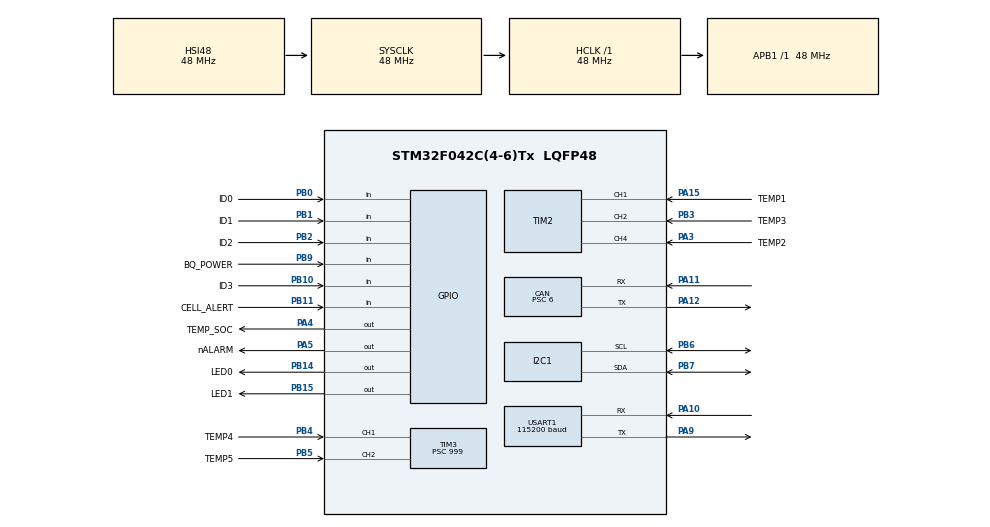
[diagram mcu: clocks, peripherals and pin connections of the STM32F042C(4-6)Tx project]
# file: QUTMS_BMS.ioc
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Mcu.Family=STM32F0
TIM2.Channel-Input_Capture1_from_TI1=TIM_CHANNEL_1
TIM14.AutoReloadPreload=TIM_AUTORELOAD_PRELOAD_DISABLE
PB10.GPIO_PuPd=GPIO_PULLDOWN
USART1.BaudRate=115200
CAN.RFLM=ENABLE
PB14.GPIO_Label=LED0
PA3.GPIO_PuPd=GPIO_NOPULL
PA11.Mode=CAN_Activate
PB0.GPIO_Label=ID0
PA11.GPIO_PuPd=GPIO_PULLUP
PB11.Signal=GPIO_Input
PB15.Signal=GPIO_Output
RCC.SYSCLKSource=RCC_SYSCLKSOURCE_HSI48
ProjectManager.StackSize=0x400
PA15.GPIO_Label=TEMP1
PA12.Signal=CAN_TX
CAN.Prescaler=6
TIM1.Prescaler=24
TIM2.ICPolarity_CH4=TIM_INPUTCHANNELPOLARITY_BOTHEDGE
TIM2.ICPolarity_CH2=TIM_INPUTCHANNELPOLARITY_BOTHEDGE
TIM2.ICPolarity_CH1=TIM_INPUTCHANNELPOLARITY_BOTHEDGE
PB1.GPIO_PuPd=GPIO_PULLDOWN
RCC.HCLKFreq_Value=48000000
PB6.Signal=I2C1_SCL
PB6.Mode=I2C
RCC.AHBFreq_Value=48000000
TIM3.Channel-Input_Capture1_from_TI1=TIM_CHANNEL_1
PA4.GPIO_PuPd=GPIO_NOPULL
PB2.Signal=GPIO_Input
TIM14.Period=250
PA4.GPIO_Speed=GPIO_SPEED_FREQ_HIGH
TIM3.Prescaler=999
PB1.GPIO_Label=ID1
NVIC.TIM2_IRQn=true\:0\:0\:false\:false\:true\:true\:true
PB7.Signal=I2C1_SDA
SH.S_TIM3_CH1.0=TIM3_CH1,Input_Capture1_from_TI1
CAN.CalculateTimeQuantum=125.0
VP_TIM1_VS_ClockSourceINT.Mode=Internal
PB2.GPIO_PuPd=GPIO_PULLDOWN
PB9.Signal=GPIO_Input
Mcu.Package=LQFP48
PB1.Signal=GPIO_Input
TIM2.Channel-Input_Capture2_from_TI2=TIM_CHANNEL_2
PA10.Signal=USART1_RX
PA15.Signal=S_TIM2_CH1_ETR
PB5.GPIO_Label=TEMP5
RCC.APB1TimFreq_Value=48000000
VP_TIM14_VS_ClockSourceINT.Mode=Enable_Timer
TIM16.Prescaler=48000
PF1-OSC_OUT.Mode=HSE-External-Oscillator
PA12.GPIO_PuPd=GPIO_PULLUP
PA4.GPIO_Label=TEMP_SOC
VP_TIM3_VS_ClockSourceINT.Mode=Internal
PF1-OSC_OUT.Signal=RCC_OSC_OUT
PB4.Signal=S_TIM3_CH1
PA3.Signal=S_TIM2_CH4
PB3.GPIO_Label=TEMP3
RCC.PLLSourceVirtual=RCC_PLLSOURCE_HSE
NVIC.TIM14_IRQn=true\:0\:0\:false\:false\:true\:true\:true
PB9.GPIO_Label=BQ_POWER
TIM3.Channel-Input_Capture2_from_TI2=TIM_CHANNEL_2
PA10.Mode=Asynchronous
CAN.CalculateBaudRate=500000
PB11.GPIO_Label=CELL_ALERT
VP_TIM16_VS_ClockSourceINT.Mode=Enable_Timer
NVIC.TIM16_IRQn=true\:0\:0\:false\:false\:true\:true\:true
CAN.CalculateTimeBit=2000.00
USART1.VirtualMode-Asynchronous=VM_ASYNC
TIM1.AutoReloadPreload=TIM_AUTORELOAD_PRELOAD_ENABLE
SH.S_TIM2_CH2.0=TIM2_CH2,Input_Capture2_from_TI2
PA9.Mode=Asynchronous
CAN.BS2=CAN_BS2_2TQ
CAN.BS1=CAN_BS1_13TQ
PA4.PinState=GPIO_PIN_RESET
ProjectManager.TargetToolchain=STM32CubeIDE
PB10.GPIO_Label=ID3
PA9.Signal=USART1_TX
CAN.Mode=CAN_MODE_NORMAL
PF0-OSC_IN.Mode=HSE-External-Oscillator
PB10.Signal=GPIO_Input
PB14.Signal=GPIO_Output
PA5.Signal=GPIO_Output
SH.S_TIM3_CH2.0=TIM3_CH2,Input_Capture2_from_TI2
board=custom
NVIC.TIM3_IRQn=true\:0\:0\:false\:false\:true\:true\:true
TIM16.Period=1000
PB4.GPIO_Label=TEMP4
PB15.GPIO_Label=LED1
VP_TIM2_VS_ClockSourceINT.Mode=Internal
TIM3.ICPolarity_CH2=TIM_INPUTCHANNELPOLARITY_BOTHEDGE
TIM3.ICPolarity_CH1=TIM_INPUTCHANNELPOLARITY_BOTHEDGE
TIM2.Channel-Input_Capture4_from_TI4=TIM_CHANNEL_4
Mcu.Name=STM32F042C(4-6)Tx
TIM14.Prescaler=48000 
PB3.Signal=S_TIM2_CH2
PA4.Signal=GPIO_Output
RCC.SYSCLKFreq_VALUE=48000000
PB5.Signal=S_TIM3_CH2
PA12.Mode=CAN_Activate
PA5.GPIO_Label=nALARM
PB7.Mode=I2C
PA11.Signal=CAN_RX
SH.S_TIM2_CH1_ETR.0=TIM2_CH1,Input_Capture1_from_TI1
PB2.GPIO_Label=ID2
ProjectManager.HeapSize=0x200
SH.S_TIM2_CH4.0=TIM2_CH4,Input_Capture4_from_TI4
PF0-OSC_IN.Signal=RCC_OSC_IN
RCC.APB1Freq_Value=48000000
PB0.Signal=GPIO_Input
PB0.GPIO_PuPd=GPIO_PULLDOWN
PA3.GPIO_Label=TEMP2

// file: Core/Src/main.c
/* USER CODE BEGIN Header */
/**
 ******************************************************************************
 * @file           : main.c
 * @brief          : Main program body
 ******************************************************************************
 * @attention
 *
 * <h2><center>&copy; Copyright (c) 2020 STMicroelectronics.
 * All rights reserved.</center></h2>
 *
 * This software component is licensed by ST under BSD 3-Clause license,
 * the "License"; You may not use this file except in compliance with the
 * License. You may obtain a copy of the License at:
 *                        opensource.org/licenses/BSD-3-Clause
 *
 ******************************************************************************
 */
/* USER CODE END Header */
#include "main.h"
#include "can.h"
#include "i2c.h"
#include "tim.h"
#include "usart.h"
#include "gpio.h"

/* USER CODE BEGIN Includes */
#include <string.h>
#include <stdio.h>
#include <math.h>

#include "bq769x0.h"
#include "QUTMS_can.h"
#include "BMS_CAN_Messages.h"
#include "temp_sensor.h"
/* USER CODE END Includes */

/* USER CODE BEGIN PD */

// OVRD_ALERT, SCD, OCD
#define SYS_STAT_FLAG_BITS 0b00111111

/* USER CODE END PD */

/* USER CODE BEGIN PV */
bool CAN_error = false;
uint8_t voltage_error_count[10];

bool take_voltage_reading;
bool update_balancing;

/* USER CODE END PV */

void SystemClock_Config(void);
/* USER CODE BEGIN PFP */

void SystemClock_1MHz_Config(void);

uint8_t startup_procedure();

uint8_t GetHardwareID();

/* USER CODE END PFP */

/* USER CODE BEGIN 0 */
uint16_t group_voltages[4];
uint16_t current_voltages[10];

bool balancing_mode = false;

uint16_t balancing_bms_average_voltages[16];
uint8_t balancing_bms_count = DEFAULT_BMS_COUNT;

bool first_heartbeat = false;

char uart_buff[80];

HAL_StatusTypeDef BMS_CAN_AddTxMessage(CAN_HandleTypeDef *hcan, CAN_TxHeaderTypeDef *pHeader, uint8_t aData[], uint32_t *pTxMailbox);
/* USER CODE END 0 */

int main(void) {

	/* MCU Configuration--------------------------------------------------------*/

	/* Reset of all peripherals, Initializes the Flash interface and the Systick. */
	HAL_Init();

	/* USER CODE BEGIN Init */
	// init 1mhz clock
	SystemClock_1MHz_Config();

	MX_GPIO_Init();
	MX_I2C1_Init();
	MX_USART1_UART_Init_1MHz();

	// exit out of shipping mode
	if (!startup_procedure()) {
		// failed to start up
		Error_Handler();
	}

	// proceed at full clock speed
	/* USER CODE END Init */

	/* Configure the system clock */
	SystemClock_Config();

	/* Initialize all configured peripherals */
	MX_GPIO_Init();
	MX_I2C1_Init();
	MX_USART1_UART_Init();
	MX_CAN_Init();
	MX_TIM2_Init();
	MX_TIM1_Init();
	MX_TIM3_Init();
	MX_TIM14_Init();
	MX_TIM16_Init();
	/* USER CODE BEGIN 2 */

	// start as LOW to be good
	HAL_GPIO_WritePin(nALARM_GPIO_Port, nALARM_Pin, GPIO_PIN_RESET);

	// force temp soc to be high (need for temp reading laterz)
	HAL_GPIO_WritePin(TEMP_SOC_GPIO_Port, TEMP_SOC_Pin, GPIO_PIN_SET);

	HAL_StatusTypeDef BQ_result = HAL_BUSY;
	//uint8_t sys_stat = 0;

	// read BMS ID
	uint8_t bms_id = GetHardwareID();

	/* USER CODE END 2 */

	/* Infinite loop */
	/* USER CODE BEGIN WHILE */

	uint32_t txMailbox = 0;
	BMS_TransmitVoltage_t voltage_msg;
	BMS_TransmitTemperature_t temp_msg;
	BMS_BadCellVoltage_t voltage_error_msg;
	BMS_BadCellTemperature_t temp_error_msg;
	BMS_TransmitBalancing_t balancing_msg;
	CAN_TxHeaderTypeDef header = { 0 };
	header.IDE = CAN_ID_EXT;
	header.RTR = CAN_RTR_DATA;
	header.TransmitGlobalTime = DISABLE;
	temp_reading current_temp_reading = { 0 };
	uint16_t temp_error = 0;
	//uint16_t volt_error = 0;

	uint16_t average_voltage = 0;

	HAL_GPIO_WritePin(LED0_GPIO_Port, LED0_Pin, GPIO_PIN_RESET);
	HAL_Delay(10);
	HAL_GPIO_WritePin(LED0_GPIO_Port, LED0_Pin, GPIO_PIN_SET);
	HAL_Delay(10);
	HAL_GPIO_WritePin(LED0_GPIO_Port, LED0_Pin, GPIO_PIN_RESET);

	// start CAN heartbeat timer
	uint32_t CAN_count_between_heartbeats = HAL_GetTick();

	// initialize CAN
	// flag so we can go into shipping from CAN error
	CAN_error = true;
	MX_CAN_Init();

	sprintf(uart_buff, "ID: %d\r\n", bms_id);
	HAL_UART_Transmit(&huart1, uart_buff, strlen(uart_buff), HAL_MAX_DELAY);

	// small delay to wait for all BMS to turn CAN on before we start the peripheral properly
	HAL_Delay(400);

	Configure_CAN(&hcan);
	CAN_error = false;

	HAL_Delay(100);

	for (int i = 0; i < bms_id; i++) {
		HAL_Delay(50);
	}

	// reset voltage error count
	memset(voltage_error_count, 0, 10);
	memset(balancing_bms_average_voltages, 0, 16 * sizeof(uint16_t));

	bool reading_temperature = false;

	// start voltage timer
	HAL_TIM_Base_Start_IT(&htim14);

#if BMS_DEBUG_BALANCING == 1
	balancing_mode = true;
	HAL_TIM_Base_Start_IT(&htim16);
	update_balancing = true;
#endif

	bq769x0_reset_cell_balancing(&hi2c1);
	//bq769x0_set_cell_balancing(&hi2c1, 1, 1);

	sprintf(uart_buff, "\r\nStart\r\n");
	HAL_UART_Transmit(&huart1, uart_buff, strlen(uart_buff), HAL_MAX_DELAY);

	first_heartbeat = false;

	while (1) {
		/* USER CODE END WHILE */

		/* USER CODE BEGIN 3 */
		HAL_GPIO_TogglePin(LED0_GPIO_Port, LED0_Pin);
		HAL_GPIO_TogglePin(LED1_GPIO_Port, LED1_Pin);

		bms_id = GetHardwareID();

		// check alarm pin
		if (HAL_GPIO_ReadPin(CELL_ALERT_GPIO_Port, CELL_ALERT_Pin)) {
			// detected an error, lets read the stat register
			uint8_t sys_stat = 0;
			BQ_result = bq769x0_reg_read_byte(&hi2c1, BQ_SYS_STAT, &sys_stat);

			if (BQ_result != HAL_OK) {
				// error, couldn't talk to BQ chip??
				Error_Handler();
			}

			sprintf(uart_buff, "CELL ALERT - sys_stat: %d\r\n", sys_stat);
			HAL_UART_Transmit(&huart1, uart_buff, strlen(uart_buff), HAL_MAX_DELAY);

			if (sys_stat) {
				// just clear the stat register, voltage errors should be picked up by us
				BQ_result = bq769x0_reg_write_byte(&hi2c1, BQ_SYS_STAT, sys_stat);
				// if this happened reset dsg on just in case
				BQ_result = bq769x0_set_DSG(&hi2c1, 1);

			}
		}

		// check CAN
		while (HAL_CAN_GetRxFifoFillLevel(&hcan, CAN_RX_FIFO0) > 0) {
			CAN_MSG_Generic_t msg;
			CAN_RxHeaderTypeDef rxHeader;
			if (HAL_CAN_GetRxMessage(&hcan, CAN_RX_FIFO0, &rxHeader, msg.data) == HAL_OK) {
				if (rxHeader.IDE == CAN_ID_EXT) {
					if (rxHeader.ExtId == AMS_HeartbeatResponse_ID) {
						CAN_count_between_heartbeats = HAL_GetTick();  // reset CAN heartbeat timer
						first_heartbeat = true;
					}

					// check if other bms in series is broadcasting average voltage
					// TODO:

					// check for enable balancing
					else if (rxHeader.ExtId == BMS_ChargeEnabled_ID) {
						CAN_count_between_heartbeats = HAL_GetTick();  // reset CAN heartbeat timer
						first_heartbeat = true;

						// get number of BMS
						Parse_ChargeEnabled(rxHeader.ExtId, msg.data, &balancing_bms_count);

						//balancing_bms_count = DEFAULT_BMS_COUNT;

						if (balancing_mode == false) {
							// just entered balancing mode, so start balancing timer
							HAL_TIM_Base_Start_IT(&htim16);

							sprintf(uart_buff, "Enabling balancing across %d BMS\r\n", balancing_bms_count);
							HAL_UART_Transmit(&huart1, uart_buff, strlen(uart_buff), HAL_MAX_DELAY);

							// first iteration so also skip waiting for the timer lmao
							update_balancing = true;

							for (int i = 0; i < balancing_bms_count; i++) {
								balancing_bms_average_voltages[i] = average_voltage;
							}
						}

						balancing_mode = true;
					} else if ((rxHeader.ExtId & ~(0b1111)) == BMS_TransmitBalancing_ID) {
						// bms balancing update, update saved
						uint8_t recieved_id = 0;
						uint16_t recieved_average_voltage = 0;
						uint16_t recieved_balancing_state = 0;
						Parse_TransmitBalancing(rxHeader.ExtId, msg.data, &recieved_id, &recieved_average_voltage, &recieved_balancing_state);

						balancing_bms_average_voltages[recieved_id] = recieved_average_voltage;
					} else if (rxHeader.ExtId == BMS_Shutdown_ID) {
						// AMS (or telemetry) requested shutdown

						// broadcast shutdown of this BMS on CAN
						BMS_ShutdownAck_t shutdownAck = Compose_BMS_ShutdownAck(bms_id);
						header.ExtId = shutdownAck.id;
						header.DLC = sizeof(shutdownAck.data);
						BMS_CAN_AddTxMessage(&hcan, &header, shutdownAck.data, &txMailbox);

						// wait 1ms to ensure transmission
						HAL_Delay(1);

						// turn off
						BQ_result = bq769x0_set_DSG(&hi2c1, 0);
						BQ_result = bq769x0_enter_shipping_mode(&hi2c1);

						// stall till shutdown
						HAL_Delay(100);
					}
				}
			}
		}

#if BMS_DEBUG_HEARTBEAT == 0
		// check if heartbeat has expired
		if ((HAL_GetTick() - CAN_count_between_heartbeats) > HEARTBEAT_TIMEOUT) {
			sprintf(uart_buff, "Heartbeat timer expired (been %d ms), turning off...\r\n", (HAL_GetTick() - CAN_count_between_heartbeats));
			HAL_UART_Transmit(&huart1, uart_buff, strlen(uart_buff), HAL_MAX_DELAY);

			// haven't heard from the AMS in 30 seconds, so turn off
			BQ_result = bq769x0_set_DSG(&hi2c1, 0);
			BQ_result = bq769x0_enter_shipping_mode(&hi2c1);

			// small delay so we dont spam printing the timer expired
			HAL_Delay(100);
		}

#endif

		// check if time for voltage reading
		if (take_voltage_reading /*&& ( (balancing_mode && update_balancing) || (!balancing_mode) )*/) {

			average_voltage = 0;

			sprintf(uart_buff, "Voltages:");
			HAL_UART_Transmit(&huart1, uart_buff, strlen(uart_buff), HAL_MAX_DELAY);

			// read and transmit all voltages
			for (int i = 0; i < NUM_VOLTAGE_GROUPS; i++) {
				// read voltages
				BQ_result = bq769x0_read_voltage_group(&hi2c1, i, group_voltages);
				if (BQ_result != HAL_OK) {
					Error_Handler();
				}

				// copy voltages into main voltage block
				for (int j = 0; ((j < 4) && ((i * 4 + j) < 10)); j++) {
					current_voltages[i * 4 + j] = group_voltages[j];

					// sum all voltages
					average_voltage += group_voltages[j];

					// update error count if needed
					if ((group_voltages[j] > OVER_VOLTAGE) || (group_voltages[j] < UNDER_VOLTAGE)) {
						voltage_error_count[i * 4 + j]++;
					} else {
						voltage_error_count[i * 4 + j] = 0;
					}

					// send voltage on uart
					sprintf(uart_buff, " %d", group_voltages[j]);
					HAL_UART_Transmit(&huart1, uart_buff, strlen(uart_buff), HAL_MAX_DELAY);

				}

				// transmit voltage block
				voltage_msg = Compose_BMS_TransmitVoltage(bms_id, i, group_voltages);
				header.ExtId = voltage_msg.id;
				header.DLC = sizeof(voltage_msg.data);
				BMS_CAN_AddTxMessage(&hcan, &header, voltage_msg.data, &txMailbox);
			}

			// calculate average voltage
			average_voltage = ((float) average_voltage / NUM_VOLTAGES);

			sprintf(uart_buff, "\tAV: %d\r\n", average_voltage);
			HAL_UART_Transmit(&huart1, uart_buff, strlen(uart_buff), HAL_MAX_DELAY);

			balancing_bms_average_voltages[bms_id] = average_voltage;

			// all voltages have been read, now check for any errors
			for (int i = 0; i < NUM_VOLTAGES; i++) {
				if (voltage_error_count[i] > NUM_BAD_VOLTAGE_COUNT) {
					// bad voltage, broadcast on CAN
					voltage_error_msg = Compose_BMS_BadCellVoltage(bms_id, i, current_voltages[i]);
					header.ExtId = voltage_error_msg.id;
					header.DLC = sizeof(voltage_error_msg.data);
					BMS_CAN_AddTxMessage(&hcan, &header, voltage_error_msg.data, &txMailbox);

					sprintf(uart_buff, "Bad Voltage at %d: %d\r\n", i, current_voltages[i]);
					HAL_UART_Transmit(&huart1, uart_buff, strlen(uart_buff), HAL_MAX_DELAY);

					// trip alarm line to let AMS know
					HAL_GPIO_WritePin(nALARM_GPIO_Port, nALARM_Pin, GPIO_PIN_SET);

					break;
				}
			}

			// clear flag - wait for next reading period
			take_voltage_reading = false;

#if BMS_DEBUG_BALANCING == 1
			if (balancing_bms_average_voltages[0] == 0) {
				sprintf(uart_buff, "Enabling balancing across %d BMS'\r\n", balancing_bms_count);
				HAL_UART_Transmit(&huart1, uart_buff, strlen(uart_buff), HAL_MAX_DELAY);

				for (int i = 0; i < balancing_bms_count; i++) {
					balancing_bms_average_voltages[i] = average_voltage;
				}
			}
#endif
		}

		// check state of temperature reading
		if (!reading_temperature) {
			// not currently reading temperature, so start a reading
			start_temp_reading();

			reading_temperature = true;
		} else {
			// is reading finished?
			if (finished_temp_reading()) {
				finish_temp_reading();
				reading_temperature = false;
				bool invalid_reading = invalid_temp_reading();

				if (!invalid_reading) {
					// got a successful temperature reading, so now parse and transmit

					// parse reading
					current_temp_reading = parse_temp_readings(raw_temp_readings, &temp_error);

#if BMS_DISABLE_PRINT_TEMPS == 0
					sprintf(uart_buff, "Temps");
					HAL_UART_Transmit(&huart1, uart_buff, strlen(uart_buff), HAL_MAX_DELAY);
#endif

					// transmit readings
					for (int i = 0; i < NUM_TEMP_BLOCKS; i++) {
						uint8_t buff[NUM_TEMPS_PER_BLOCK];
						memset(buff, 0, NUM_TEMPS_PER_BLOCK);

						for (int j = 0; j < NUM_TEMPS_PER_BLOCK; j++) {
							if ((i * NUM_TEMPS_PER_BLOCK + j) < NUM_TEMPS) {
								buff[j] = current_temp_reading.temps[i * NUM_TEMPS_PER_BLOCK + j];
							}
						}

						temp_msg = Compose_BMS_TransmitTemperature(bms_id, i, buff);
						header.ExtId = temp_msg.id;
						header.DLC = sizeof(temp_msg.data);
						BMS_CAN_AddTxMessage(&hcan, &header, temp_msg.data, &txMailbox);
					}

					// sent a temp reading, so flash the LEDs
					HAL_GPIO_TogglePin(LED0_GPIO_Port, LED0_Pin);
					HAL_GPIO_TogglePin(LED1_GPIO_Port, LED1_Pin);

#if BMS_DISABLE_PRINT_TEMPS == 0
					sprintf(uart_buff, "1: %d %d %d %d\t", current_temp_reading.temps[0], current_temp_reading.temps[1], current_temp_reading.temps[2], current_temp_reading.temps[3]);
					HAL_UART_Transmit(&huart1, uart_buff, strlen(uart_buff), HAL_MAX_DELAY);

					sprintf(uart_buff, "2: %d %d %d\t", current_temp_reading.temps[4], current_temp_reading.temps[5], current_temp_reading.temps[6]);
					HAL_UART_Transmit(&huart1, uart_buff, strlen(uart_buff), HAL_MAX_DELAY);

					sprintf(uart_buff, "3: %d %d %d\t", current_temp_reading.temps[7], current_temp_reading.temps[8], current_temp_reading.temps[9]);
					HAL_UART_Transmit(&huart1, uart_buff, strlen(uart_buff), HAL_MAX_DELAY);

					sprintf(uart_buff, "4: %d %d %d %d\t", current_temp_reading.temps[10], current_temp_reading.temps[11], current_temp_reading.temps[12], current_temp_reading.temps[13]);
					HAL_UART_Transmit(&huart1, uart_buff, strlen(uart_buff), HAL_MAX_DELAY);

					sprintf(uart_buff, "5: %d %d\r\n", current_temp_reading.temps[14], current_temp_reading.temps[15]);
					HAL_UART_Transmit(&huart1, uart_buff, strlen(uart_buff), HAL_MAX_DELAY);
					/*
					 for (int i = 0; i < NUM_TEMPS; i++) {

					 sprintf(uart_buff, " %d", current_temp_reading.temps[i]);
					 HAL_UART_Transmit(&huart1, uart_buff, strlen(uart_buff), HAL_MAX_DELAY);
					 }

					 sprintf(uart_buff, "\r\n");
					 HAL_UART_Transmit(&huart1, uart_buff, strlen(uart_buff), HAL_MAX_DELAY);
					 */
#endif

					// dump temperatures over uart
					//HAL_UART_Transmit(&huart1, current_temp_reading.temps, NUM_TEMPS, HAL_MAX_DELAY);

					// check for temperature errors
					if (temp_error > 0) {
						// find first temperature that has an issue
						for (int i = 0; i < NUM_TEMPS; i++) {
							if (current_temp_reading.temps[i] > DANGER_TEMP) {
								temp_error_msg = Compose_BMS_BadCellTemperature(bms_id, i, current_temp_reading.temps[i]);
								header.ExtId = temp_error_msg.id;
								header.DLC = sizeof(temp_error_msg.data);
								BMS_CAN_AddTxMessage(&hcan, &header, temp_error_msg.data, &txMailbox);

								sprintf(uart_buff, "Bad Temp at %d: %d\r\n", i, current_temp_reading.temps[i]);
								HAL_UART_Transmit(&huart1, uart_buff, strlen(uart_buff), HAL_MAX_DELAY);

								// only send first bad temp, so exit out
								break;
							}
						}
					}
				}
			}
		}

		// check if time to update balancing
		if (balancing_mode && update_balancing) {
			// start by clearing all balancing registers
			//bq769x0_reset_cell_balancing(&hi2c1);

			// calculate new average
			uint32_t new_sum = 0;
			sprintf(uart_buff, "BMS AVs:\t");
			HAL_UART_Transmit(&huart1, uart_buff, strlen(uart_buff), HAL_MAX_DELAY);
			for (int i = 0; i < balancing_bms_count; i++) {
				new_sum += balancing_bms_average_voltages[i];

				sprintf(uart_buff, " %d", balancing_bms_average_voltages[i]);
				HAL_UART_Transmit(&huart1, uart_buff, strlen(uart_buff), HAL_MAX_DELAY);
			}

			uint16_t balancing_average = ((float) new_sum / balancing_bms_count);

			sprintf(uart_buff, "\r\nB AV: %d\r\n", balancing_average);
			HAL_UART_Transmit(&huart1, uart_buff, strlen(uart_buff), HAL_MAX_DELAY);

			// check temperature
			// TODO:

			// calculate delta of each voltage to average
			int deltas[NUM_VOLTAGES];

			sprintf(uart_buff, "B Deltas:\t");
			HAL_UART_Transmit(&huart1, uart_buff, strlen(uart_buff), HAL_MAX_DELAY);

			for (int i = 0; i < NUM_VOLTAGES; i++) {
				deltas[i] = current_voltages[i] - balancing_average;

				// if it's less than the average we don't care about it
				if (deltas[i] < 0) {
					deltas[i] = 0;
				}

				sprintf(uart_buff, " %d", deltas[i]);
				HAL_UART_Transmit(&huart1, uart_buff, strlen(uart_buff), HAL_MAX_DELAY);
			}

			sprintf(uart_buff, "\r\n");
			HAL_UART_Transmit(&huart1, uart_buff, strlen(uart_buff), HAL_MAX_DELAY);

			sprintf(uart_buff, "Balancing:\t");
			HAL_UART_Transmit(&huart1, uart_buff, strlen(uart_buff), HAL_MAX_DELAY);

			uint16_t balancing_state = 0;

			// balance each group of 5 cells separately
			for (int i = 0; i < 2; i++) {
				// determine which cluster needs more balancing
				int sum_group_1 = deltas[(i * 5)] + deltas[(i * 5) + 2] + deltas[(i * 5) + 4];
				int sum_group_2 = deltas[(i * 5) + 1] + deltas[(i * 5) + 3];

				uint8_t balancing_idx = 0;

				// flag appropriate cells for balancing
				if (sum_group_1 > sum_group_2) {
					if (deltas[(i * 5)] > BALANCING_THRESHOLD) {
						balancing_idx |= 1 << 0;
					}

					if (deltas[(i * 5) + 2] > BALANCING_THRESHOLD) {
						balancing_idx |= 1 << 2;
					}

					if (deltas[(i * 5) + 4] > BALANCING_THRESHOLD) {
						balancing_idx |= 1 << 4;
					}
				} else {
					if (deltas[(i * 5) + 1] > BALANCING_THRESHOLD) {
						balancing_idx |= 1 << 1;
					}

					if (deltas[(i * 5) + 3] > BALANCING_THRESHOLD) {
						balancing_idx |= 1 << 3;
					}
				}

				balancing_state |= balancing_idx << (5 * i);

				// set balancing for this group
				bq769x0_set_cell_balancing_reg(&hi2c1, i, balancing_idx);

				for (int i = 0; i < 5; i++) {
					sprintf(uart_buff, " %d", (balancing_idx >> i) & 1);
					HAL_UART_Transmit(&huart1, &uart_buff, strlen(uart_buff), HAL_MAX_DELAY);
				}
			}

			sprintf(uart_buff, "\r\n");
			HAL_UART_Transmit(&huart1, &uart_buff, strlen(uart_buff), HAL_MAX_DELAY);

			// send CAN message to reflect balancing update
			balancing_msg = Compose_BMS_TransmitBalancing(bms_id, average_voltage, balancing_state);
			header.ExtId = balancing_msg.id;
			header.DLC = sizeof(balancing_msg.data);
			BMS_CAN_AddTxMessage(&hcan, &header, balancing_msg.data, &txMailbox);

			// clear flag
			update_balancing = false;
		}

	}
	/* USER CODE END 3 */
}

void SystemClock_Config(void) {
	RCC_OscInitTypeDef RCC_OscInitStruct = { 0 };
	RCC_ClkInitTypeDef RCC_ClkInitStruct = { 0 };
	RCC_PeriphCLKInitTypeDef PeriphClkInit = { 0 };

	/** Initializes the RCC Oscillators according to the specified parameters
	 * in the RCC_OscInitTypeDef structure.
	 */
	RCC_OscInitStruct.OscillatorType = RCC_OSCILLATORTYPE_HSI | RCC_OSCILLATORTYPE_HSI48;
	RCC_OscInitStruct.HSIState = RCC_HSI_ON;
	RCC_OscInitStruct.HSI48State = RCC_HSI48_ON;
	RCC_OscInitStruct.HSICalibrationValue = RCC_HSICALIBRATION_DEFAULT;
	RCC_OscInitStruct.PLL.PLLState = RCC_PLL_NONE;
	if (HAL_RCC_OscConfig(&RCC_OscInitStruct) != HAL_OK) {
		Error_Handler();
	}
	/** Initializes the CPU, AHB and APB buses clocks
	 */
	RCC_ClkInitStruct.ClockType = RCC_CLOCKTYPE_HCLK | RCC_CLOCKTYPE_SYSCLK | RCC_CLOCKTYPE_PCLK1;
	RCC_ClkInitStruct.SYSCLKSource = RCC_SYSCLKSOURCE_HSI48;
	RCC_ClkInitStruct.AHBCLKDivider = RCC_SYSCLK_DIV1;
	RCC_ClkInitStruct.APB1CLKDivider = RCC_HCLK_DIV1;

	if (HAL_RCC_ClockConfig(&RCC_ClkInitStruct, FLASH_LATENCY_1) != HAL_OK) {
		Error_Handler();
	}
	PeriphClkInit.PeriphClockSelection = RCC_PERIPHCLK_USART1 | RCC_PERIPHCLK_I2C1;
	PeriphClkInit.Usart1ClockSelection = RCC_USART1CLKSOURCE_PCLK1;
	PeriphClkInit.I2c1ClockSelection = RCC_I2C1CLKSOURCE_HSI;
	if (HAL_RCCEx_PeriphCLKConfig(&PeriphClkInit) != HAL_OK) {
		Error_Handler();
	}
}

/* USER CODE BEGIN 4 */
/**
 * @brief System Clock Configuration for 8MHz based on generated config.
 * @retval None
 */
void SystemClock_1MHz_Config(void) {

	RCC_OscInitTypeDef RCC_OscInitStruct = { 0 };
	RCC_ClkInitTypeDef RCC_ClkInitStruct = { 0 };
	RCC_PeriphCLKInitTypeDef PeriphClkInit = { 0 };

	/** Initializes the RCC Oscillators according to the specified parameters
	 * in the RCC_OscInitTypeDef structure.
	 */
	RCC_OscInitStruct.OscillatorType = RCC_OSCILLATORTYPE_HSI;
	RCC_OscInitStruct.HSIState = RCC_HSI_ON;
	RCC_OscInitStruct.HSICalibrationValue = RCC_HSICALIBRATION_DEFAULT;
	RCC_OscInitStruct.PLL.PLLState = RCC_PLL_NONE;
	if (HAL_RCC_OscConfig(&RCC_OscInitStruct) != HAL_OK) {
		Error_Handler();
	}
	/** Initializes the CPU, AHB and APB buses clocks
	 */
	RCC_ClkInitStruct.ClockType = RCC_CLOCKTYPE_HCLK | RCC_CLOCKTYPE_SYSCLK | RCC_CLOCKTYPE_PCLK1;
	RCC_ClkInitStruct.SYSCLKSource = RCC_SYSCLKSOURCE_HSI;
	RCC_ClkInitStruct.AHBCLKDivider = RCC_SYSCLK_DIV8;
	RCC_ClkInitStruct.APB1CLKDivider = RCC_HCLK_DIV1;

	if (HAL_RCC_ClockConfig(&RCC_ClkInitStruct, FLASH_LATENCY_0) != HAL_OK) {
		Error_Handler();
	}
	PeriphClkInit.PeriphClockSelection = RCC_PERIPHCLK_USART1 | RCC_PERIPHCLK_I2C1;
	PeriphClkInit.Usart1ClockSelection = RCC_USART1CLKSOURCE_PCLK1;
	PeriphClkInit.I2c1ClockSelection = RCC_I2C1CLKSOURCE_HSI;
	if (HAL_RCCEx_PeriphCLKConfig(&PeriphClkInit) != HAL_OK) {
		Error_Handler();
	}
}

/*
 * Return the ID set but Hardware.
 */
uint8_t GetHardwareID() {
	uint8_t hardware_ID = 0;
	hardware_ID |= HAL_GPIO_ReadPin(ID0_GPIO_Port, ID0_Pin) | (HAL_GPIO_ReadPin(ID1_GPIO_Port, ID1_Pin) << 1) | (HAL_GPIO_ReadPin(ID2_GPIO_Port, ID2_Pin) << 2)
			| (HAL_GPIO_ReadPin(ID3_GPIO_Port, ID3_Pin) << 3);

	return hardware_ID;
}

uint8_t startup_procedure() {
	// force temp soc to be high
	HAL_GPIO_WritePin(TEMP_SOC_GPIO_Port, TEMP_SOC_Pin, GPIO_PIN_SET);

	// turn both LEDs off for debugging (auto go on from GPIO init)
	HAL_GPIO_WritePin(LED0_GPIO_Port, LED0_Pin, GPIO_PIN_SET);
	HAL_GPIO_WritePin(LED1_GPIO_Port, LED1_Pin, GPIO_PIN_SET);

	// check BQ chip
	HAL_StatusTypeDef BQ_result = HAL_BUSY;
	uint8_t sys_stat = 0;

	// set under and over voltage
	uint16_t voltage_limit = UNDER_VOLTAGE;
	if (bq769x0_set_under_voltage(&hi2c1, voltage_limit) != HAL_OK) {
		Error_Handler();
	}

	voltage_limit = OVER_VOLTAGE;
	if (bq769x0_set_over_voltage(&hi2c1, voltage_limit) != HAL_OK) {
		Error_Handler();
	}

	// get initial sys_stat register
	if (bq769x0_reg_read_byte(&hi2c1, BQ_SYS_STAT, &sys_stat) != HAL_OK) {
		// error, couldn't talk to BQ chip??
		Error_Handler();
	}

	sprintf(uart_buff, "Initial - sys_stat: %d\r\n", sys_stat);
	HAL_UART_Transmit(&huart1, uart_buff, strlen(uart_buff), HAL_MAX_DELAY);

	//HAL_UART_Transmit(&huart1, &sys_stat, sizeof(uint8_t), HAL_MAX_DELAY);

	// check value from sys_stat
	// do this after setting over and under voltage
	// so if we got an error caused by incorrect calibration if should stay cleared
	if ((sys_stat & SYS_STAT_FLAG_BITS) > 0) {
		// error has been detected potentially

		// clear read cycle to phase out old values
		sys_stat = sys_stat & SYS_STAT_FLAG_BITS;
		bq769x0_reg_write_byte(&hi2c1, BQ_SYS_STAT, sys_stat);

		sprintf(uart_buff, "WARNING - writing_0 sys_stat: %d: %d\r\n", sys_stat);
		HAL_UART_Transmit(&huart1, uart_buff, strlen(uart_buff), HAL_MAX_DELAY);

		//HAL_UART_Transmit(&huart1, &sys_stat, sizeof(uint8_t), HAL_MAX_DELAY);

		bq769x0_reg_read_byte(&hi2c1, BQ_SYS_STAT, &sys_stat);
		sprintf(uart_buff, "WARNING - current sys_stat: %d: %d\r\n", sys_stat);
		HAL_UART_Transmit(&huart1, uart_buff, strlen(uart_buff), HAL_MAX_DELAY);
		// HAL_UART_Transmit(&huart1, &sys_stat, sizeof(uint8_t), HAL_MAX_DELAY);

		// clear and read final register values

		sys_stat = sys_stat & SYS_STAT_FLAG_BITS;
		bq769x0_reg_write_byte(&hi2c1, BQ_SYS_STAT, sys_stat);

		sprintf(uart_buff, "WARNING - writing_1 sys_stat: %d: %d\r\n", sys_stat);
		HAL_UART_Transmit(&huart1, uart_buff, strlen(uart_buff), HAL_MAX_DELAY);

		//HAL_UART_Transmit(&huart1, &sys_stat, sizeof(uint8_t), HAL_MAX_DELAY);

		bq769x0_reg_read_byte(&hi2c1, BQ_SYS_STAT, &sys_stat);

		sprintf(uart_buff, "WARNING - final sys_stat: %d: %d\r\n", sys_stat);
		HAL_UART_Transmit(&huart1, uart_buff, strlen(uart_buff), HAL_MAX_DELAY);

		//HAL_UART_Transmit(&huart1, &sys_stat, sizeof(uint8_t), HAL_MAX_DELAY);

		for (int i = 0; i < 3; i++) {
			// read and transmit all voltages
			if (bq769x0_read_voltage_group(&hi2c1, i, group_voltages) != HAL_OK) {
				Error_Handler();
			}
		}
		/*
		 if ((BQ_result != HAL_OK) || (sys_stat & SYS_STAT_FLAG_BITS) != 0) {
		 // couldn't talk to BQ or theres still an error
		 Error_Handler();
		 }
		 */
	}

	// everything is fine so turn the LEDs back on
	HAL_GPIO_WritePin(LED0_GPIO_Port, LED0_Pin, GPIO_PIN_RESET);
	HAL_GPIO_WritePin(LED0_GPIO_Port, LED1_Pin, GPIO_PIN_RESET);

	// enable DSG
	BQ_result = bq769x0_set_DSG(&hi2c1, 1);
	if (BQ_result != HAL_OK) {
		// error, couldn't talk to BQ chip??
		Error_Handler();
	}

	// everything is fine
	return 1;
}

HAL_StatusTypeDef BMS_CAN_AddTxMessage(CAN_HandleTypeDef *hcan, CAN_TxHeaderTypeDef *pHeader, uint8_t aData[], uint32_t *pTxMailbox) {
	if (first_heartbeat) {
		// stall until we have a free spot to send this message
		//while (HAL_CAN_GetTxMailboxesFreeLevel(hcan) == 0);

		return HAL_CAN_AddTxMessage(hcan, pHeader, aData, pTxMailbox);
	} else {
		return HAL_ERROR;
	}
}

/* USER CODE END 4 */

void Error_Handler(void) {
	/* USER CODE BEGIN Error_Handler_Debug */

	sprintf(uart_buff, "Error\r\n");
	HAL_UART_Transmit(&huart1, uart_buff, strlen(uart_buff), HAL_MAX_DELAY);

	HAL_GPIO_WritePin(GPIOB, GPIO_PIN_14, GPIO_PIN_SET);
	HAL_GPIO_WritePin(GPIOB, GPIO_PIN_15, GPIO_PIN_RESET);
	HAL_Delay(100);
	HAL_GPIO_WritePin(GPIOB, GPIO_PIN_14, GPIO_PIN_RESET);
	HAL_GPIO_WritePin(GPIOB, GPIO_PIN_15, GPIO_PIN_SET);

	//if (CAN_error) {
	// found error so just turn off lol
	//bq769x0_set_DSG(&hi2c1, 0);
	//bq769x0_enter_shipping_mode(&hi2c1);
//	}

	/* User can add his own implementation to report the HAL error return state */
	/*while (1) {
	 HAL_Delay(100);
	 }*/
	/* USER CODE END Error_Handler_Debug */
}

/************************ (C) COPYRIGHT STMicroelectronics *****END OF FILE****/
